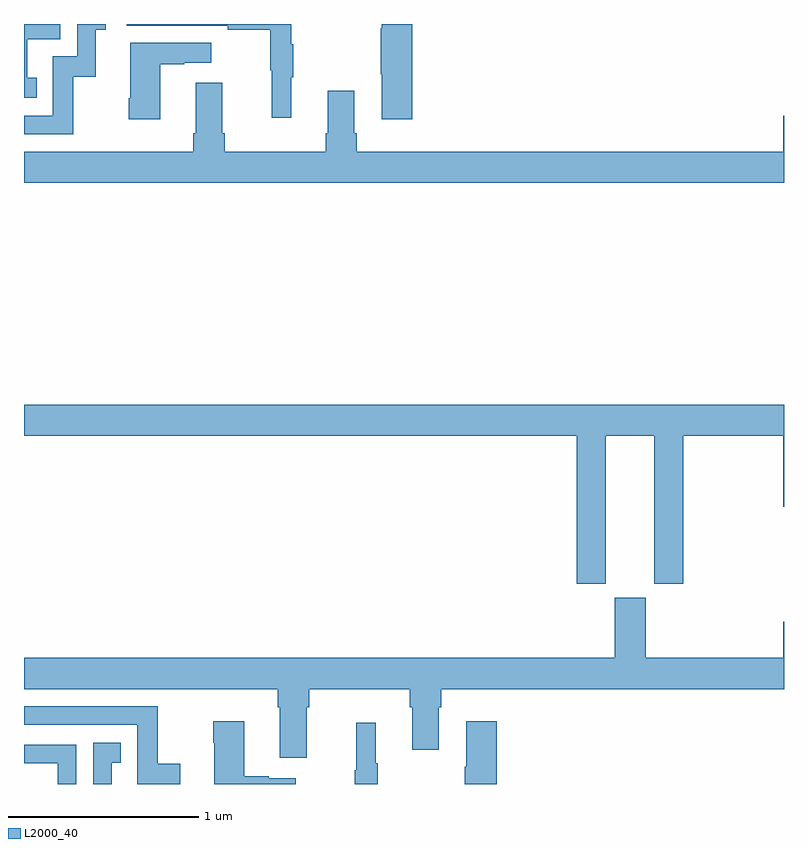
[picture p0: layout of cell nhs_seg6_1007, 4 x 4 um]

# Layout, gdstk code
import gdstk
lib = gdstk.Library(unit=1e-6, precision=1e-09)
def P(c, l, *ps):  # polygons
    for p in ps: c.add(gdstk.Polygon(p, *l))
L2000_40 = (2000, 40)

nhs_seg6_1007 = lib.new_cell('nhs_seg6_1007')
P(nhs_seg6_1007, L2000_40, [(173.26,953.223),(173.378,953.223),(173.378,953.469),(173.431,953.469),(173.431,953.5),(173.28,953.5),(173.28,953.331),(173.151,953.331),(173.151,953.016),(173,953.016),(173,952.92),(173.26,952.92)],
  [(174.407,953.219),(174.418,953.219),(174.418,953.393),(174.407,953.393),(174.407,953.5),(173.541,953.5),(173.541,953.49),(174.073,953.49),(174.073,953.47),(174.297,953.47),(174.297,953.256),(174.304,953.256),(174.304,953.007),(174.407,953.007)],
  [(173.066,953.217),(173.017,953.217),(173.017,953.421),(173.19,953.421),(173.19,953.5),(173,953.5),(173,953.112),(173.066,953.112)],
  [(175.043,953.5),(174.884,953.5),(174.884,953.477),(174.877,953.477),(174.877,953.236),(174.884,953.236),(174.884,952.998),(175.043,952.998)],
  [(173.716,953.287),(173.843,953.287),(173.843,953.297),(173.986,953.297),(173.986,953.401),(173.558,953.401),(173.558,953.11),(173.551,953.11),(173.551,952.998),(173.716,952.998)],
  [(177,953.017),(176.996,953.017),(176.996,952.828),(174.752,952.828),(174.752,952.924),(174.739,952.924),(174.739,953.149),(174.599,953.149),(174.599,952.924),(174.587,952.924),(174.587,952.828),(174.056,952.828),(174.056,952.924),(174.043,952.924),(174.043,953.191),(173.903,953.191),(173.903,952.924),(173.891,952.924),(173.891,952.828),(173,952.828),(173,952.664),(177,952.664)],
  [(176.062,951.332),(176.318,951.332),(176.318,950.553),(176.471,950.553),(176.471,951.332),(176.996,951.332),(176.996,950.958),(177,950.958),(177,951.496),(173,951.496),(173,951.332),(175.91,951.332),(175.91,950.553),(176.062,950.553)],
  [(174.487,949.904),(174.5,949.904),(174.5,950),(175.031,950),(175.031,949.904),(175.043,949.904),(175.043,949.68),(175.183,949.68),(175.183,949.904),(175.196,949.904),(175.196,950),(177,950),(177,950.353),(176.996,950.353),(176.996,950.164),(176.272,950.164),(176.272,950.481),(176.108,950.481),(176.108,950.164),(173,950.164),(173,950),(174.335,950),(174.335,949.904),(174.347,949.904),(174.347,949.638),(174.487,949.638)],
  [(173.822,949.606),(173.704,949.606),(173.704,949.908),(173,949.908),(173,949.812),(173.595,949.812),(173.595,949.5),(173.822,949.5)],
  [(174.43,949.531),(174.287,949.531),(174.287,949.541),(174.16,949.541),(174.16,949.831),(173.995,949.831),(173.995,949.718),(174.002,949.718),(174.002,949.5),(174.43,949.5)],
  [(175.487,949.831),(175.328,949.831),(175.328,949.592),(175.321,949.592),(175.321,949.5),(175.487,949.5)],
  [(174.862,949.609),(174.851,949.609),(174.851,949.822),(174.748,949.822),(174.748,949.572),(174.741,949.572),(174.741,949.5),(174.862,949.5)],
  [(173.461,949.611),(173.51,949.611),(173.51,949.717),(173.364,949.717),(173.364,949.5),(173.461,949.5)],
  [(173.274,949.707),(173,949.707),(173,949.61),(173.178,949.61),(173.178,949.5),(173.274,949.5)])

lib.write_gds('nhs_seg6_1007.gds')
